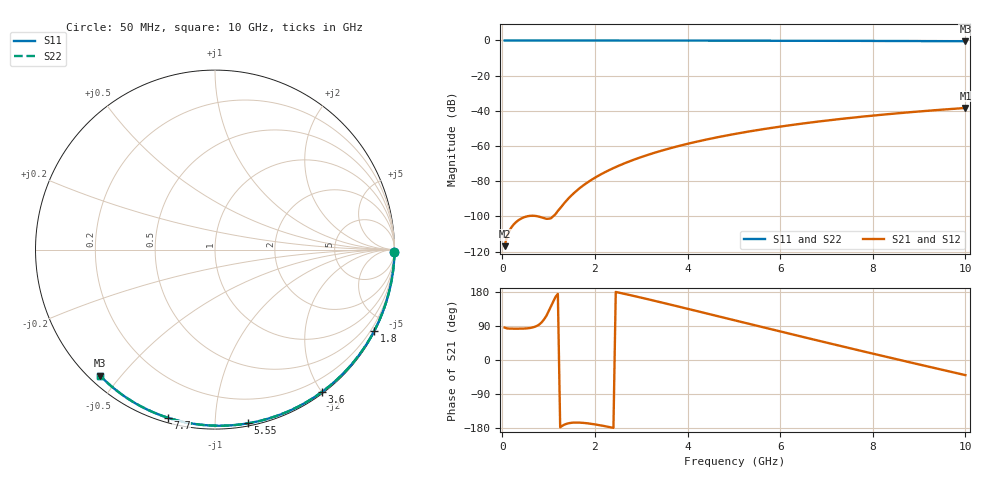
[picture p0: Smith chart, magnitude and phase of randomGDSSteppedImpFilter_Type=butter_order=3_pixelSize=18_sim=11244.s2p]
! freq	dB(S11)	phase(S11)	dB(S12)	phase(S12)
!  dB(S21)	phase(S21)	dB(S22)	phase(S22)
!S-par simulation data
#  GHz  S  DB  R 50
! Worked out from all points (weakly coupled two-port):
!   200 points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, 50 MHz to 10 GHz, reference 50 ohm
!   highest |S21| = -38.36 dB at 10 GHz (marker M1); lowest = -116.9 dB at 50 MHz (marker M2)
!   lowest |S11| = -0.4 dB at 10 GHz (marker M3), VSWR 39.18, Z = 1.52 - j22 ohm
!   |S11| at or under -10 dB: nowhere
!   |S22| runs from -0.4 to 0.0 dB; largest |S21 - S12| = 0
!   S11 on the Smith chart (normalised r, x): 50 MHz: open; 1.8 GHz: 0.04, -4.15; 3.6 GHz: 0.02, -2.01; 5.55 GHz: 0.02, -1.21; 7.7 GHz: 0.02, -0.76; 10 GHz: 0.03, -0.44
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0.05  -0.00 -0.8  -116.90 85.5  -116.90 85.5  -0.00 -0.8
0.9  -0.02 -13.7  -101.01 107.0  -101.01 107.0  -0.02 -13.7
1.75  -0.03 -26.4  -82.35 -165.9  -82.35 -165.9  -0.03 -26.4
1.8  -0.03 -27.1  -81.40 -166.5  -81.40 -166.5  -0.03 -27.1
1.85  -0.04 -27.9  -80.50 -167.2  -80.50 -167.2  -0.04 -27.9
1.9  -0.04 -28.6  -79.63 -168.1  -79.63 -168.1  -0.04 -28.6
2.05  -0.04 -30.8  -77.24 -170.9  -77.24 -170.9  -0.04 -30.8
2.25  -0.04 -33.7  -74.42 -175.4  -74.42 -175.4  -0.04 -33.7
2.45  -0.05 -36.6  -71.92 179.6  -71.92 179.6  -0.05 -36.6
2.65  -0.05 -39.5  -69.69 174.3  -69.69 174.3  -0.05 -39.5
3  -0.06 -44.5  -66.27 164.5  -66.27 164.5  -0.06 -44.5
3.4  -0.07 -50.2  -62.93 153.0  -62.93 153.0  -0.07 -50.2
3.6  -0.07 -53.0  -61.43 147.1  -61.43 147.1  -0.07 -53.0
4.3  -0.09 -62.6  -56.92 126.2  -56.92 126.2  -0.09 -62.6
5.05  -0.11 -72.7  -52.99 103.8  -52.99 103.8  -0.11 -72.7
5.55  -0.13 -79.2  -50.76 88.8  -50.76 88.8  -0.13 -79.2
6.1  -0.15 -86.2  -48.58 72.4  -48.58 72.4  -0.15 -86.2
6.7  -0.18 -93.7  -46.48 54.7  -46.48 54.7  -0.18 -93.7
7.7  -0.24 -105.7  -43.50 25.5  -43.50 25.5  -0.24 -105.8
8.35  -0.29 -113.4  -41.83 6.7  -41.83 6.7  -0.29 -113.4
9.15  -0.36 -122.7  -40.03 -16.0  -40.03 -16.0  -0.36 -122.7
10  -0.44 -132.4  -38.36 -39.9  -38.36 -39.9  -0.44 -132.4
